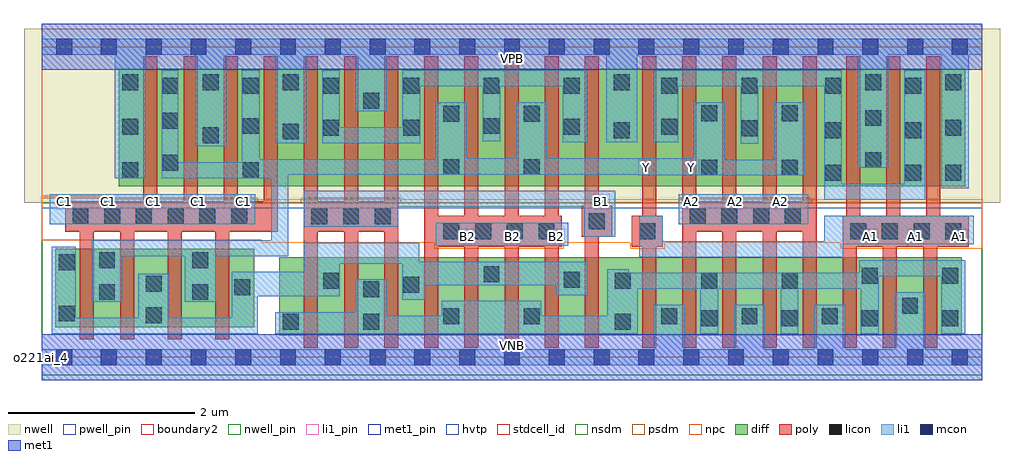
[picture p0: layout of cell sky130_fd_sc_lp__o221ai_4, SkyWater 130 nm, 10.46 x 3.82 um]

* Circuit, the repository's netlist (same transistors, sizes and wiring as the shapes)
* Copyright 2020 The SkyWater PDK Authors
*
* Licensed under the Apache License, Version 2.0 (the "License");
* you may not use this file except in compliance with the License.
* You may obtain a copy of the License at
*
*     https://www.apache.org/licenses/LICENSE-2.0
*
* Unless required by applicable law or agreed to in writing, software
* distributed under the License is distributed on an "AS IS" BASIS,
* WITHOUT WARRANTIES OR CONDITIONS OF ANY KIND, either express or implied.
* See the License for the specific language governing permissions and
* limitations under the License.
*
* SPDX-License-Identifier: Apache-2.0

.SUBCKT sky130_fd_sc_lp__o221ai_4 A1 A2 B1 B2 C1 VGND VNB VPB VPWR Y
*.PININFO A1:I A2:I B1:I B2:I C1:I VGND:I VNB:I VPB:I VPWR:I Y:O
MMPA0 VPWR A1 sndA1 VPB sky130_fd_pr__pfet_01v8_hvt m=4 w=1.26U l=0.15U mult=1
+ sa=0.265 sb=0.265 sd=0.28 area=0.063 perim=1.14
MMPA1 sndA1 A2 Y VPB sky130_fd_pr__pfet_01v8_hvt m=4 w=1.26U l=0.15U mult=1 sa=0.265
+ sb=0.265 sd=0.28 area=0.063 perim=1.14
MMPB0 VPWR B1 sndB1 VPB sky130_fd_pr__pfet_01v8_hvt m=4 w=1.26U l=0.15U mult=1
+ sa=0.265 sb=0.265 sd=0.28 area=0.063 perim=1.14
MMPB1 sndB1 B2 Y VPB sky130_fd_pr__pfet_01v8_hvt m=4 w=1.26U l=0.15U mult=1 sa=0.265
+ sb=0.265 sd=0.28 area=0.063 perim=1.14
MMPC0 VPWR C1 Y VPB sky130_fd_pr__pfet_01v8_hvt m=4 w=1.26U l=0.15U mult=1 sa=0.265
+ sb=0.265 sd=0.28 area=0.063 perim=1.14
MMNA0 pndA A1 VGND VNB sky130_fd_pr__nfet_01v8 m=4 w=0.84U l=0.15U mult=1 sa=0.265
+ sb=0.265 sd=0.28 area=0.063 perim=1.14
MMNA1 pndA A2 VGND VNB sky130_fd_pr__nfet_01v8 m=4 w=0.84U l=0.15U mult=1 sa=0.265
+ sb=0.265 sd=0.28 area=0.063 perim=1.14
MMNB0 pndB B1 pndA VNB sky130_fd_pr__nfet_01v8 m=4 w=0.84U l=0.15U mult=1 sa=0.265
+ sb=0.265 sd=0.28 area=0.063 perim=1.14
MMNB1 pndB B2 pndA VNB sky130_fd_pr__nfet_01v8 m=4 w=0.84U l=0.15U mult=1 sa=0.265
+ sb=0.265 sd=0.28 area=0.063 perim=1.14
MMNC0 Y C1 pndB VNB sky130_fd_pr__nfet_01v8 m=4 w=0.84U l=0.15U mult=1 sa=0.265
+ sb=0.265 sd=0.28 area=0.063 perim=1.14
.ENDS sky130_fd_sc_lp__o221ai_4

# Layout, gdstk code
import gdstk
lib = gdstk.Library(unit=1e-6, precision=1e-09)
def R(c, l, rs):  # rectangles x0, y0, x1, y1
    for r in rs: c.add(gdstk.rectangle(r[:2], r[2:], *l))
def A(c, l, x, y, w, h, nx, ny, dx, dy):  # array of equal rectangles
    R(c, l, [(x+i*dx, y+j*dy, x+i*dx+w, y+j*dy+h) for i in range(nx) for j in range(ny)])
def P(c, l, *ps):  # polygons
    for p in ps: c.add(gdstk.Polygon(p, *l))
nwell_pin = (64, 16)
nwell = (64, 20)
diff = (65, 20)
poly = (66, 20)
licon = (66, 44)
li1_pin = (67, 16)
li1 = (67, 20)
mcon = (67, 44)
met1_pin = (68, 16)
met1 = (68, 20)
hvtp = (78, 44)
stdcell_id = (81, 4)
nsdm = (93, 44)
psdm = (94, 20)
npc = (95, 20)
pwell_pin = (122, 16)
boundary2 = (236, 0)

sky130_fd_sc_lp__o221ai_ = lib.new_cell('sky130_fd_sc_lp__o221ai_4')
R(sky130_fd_sc_lp__o221ai_, nwell_pin, [(0,3.085,10.08,3.33)])
R(sky130_fd_sc_lp__o221ai_, nwell, [(-0.19,1.655,10.27,3.52)])
R(sky130_fd_sc_lp__o221ai_, diff, [(2.545,0.235,9.86,1.075), (0.145,0.325,2.275,1.165), (0.825,1.835,9.895,3.095)])
P(sky130_fd_sc_lp__o221ai_, poly, [(2.53,3.225),(2.38,3.225),(2.38,1.675),(2.1,1.675),(2.1,3.225),(1.95,3.225),(1.95,1.675),(1.67,1.675),(1.67,3.225),(1.52,3.225),(1.52,1.675),(1.24,1.675),(1.24,3.225),(1.09,3.225),(1.09,1.675),(0.25,1.675),(0.25,1.345),(0.41,1.345),(0.41,0.195),(0.56,0.195),(0.56,1.345),(0.84,1.345),(0.84,0.195),(0.99,0.195),(0.99,1.345),(1.35,1.345),(1.35,0.195),(1.5,0.195),(1.5,1.345),(1.86,1.345),(1.86,0.195),(2.01,0.195),(2.01,1.345),(2.53,1.345)],
  [(3.82,3.225),(3.67,3.225),(3.67,1.675),(3.39,1.675),(3.39,3.225),(3.24,3.225),(3.24,1.675),(2.96,1.675),(2.96,3.225),(2.81,3.225),(2.81,0.105),(2.96,0.105),(2.96,1.345),(3.24,1.345),(3.24,0.105),(3.39,0.105),(3.39,1.345),(3.67,1.345),(3.67,0.105),(3.82,0.105)],
  [(5.575,1.515),(5.54,1.515),(5.54,3.225),(5.39,3.225),(5.39,1.515),(5.11,1.515),(5.11,3.225),(4.96,3.225),(4.96,1.515),(4.68,1.515),(4.68,3.225),(4.53,3.225),(4.53,1.515),(4.25,1.515),(4.25,3.225),(4.1,3.225),(4.1,0.105),(4.25,0.105),(4.25,1.185),(4.53,1.185),(4.53,0.105),(4.68,0.105),(4.68,1.185),(4.96,1.185),(4.96,0.105),(5.11,0.105),(5.11,1.185),(5.39,1.185),(5.39,0.105),(5.54,0.105),(5.54,1.185),(5.575,1.185)],
  [(6.115,1.625),(5.97,1.625),(5.97,3.225),(5.82,3.225),(5.82,1.625),(5.785,1.625),(5.785,1.295),(5.82,1.295),(5.82,0.105),(5.97,0.105),(5.97,1.295),(6.115,1.295)],
  [(6.655,1.515),(6.585,1.515),(6.585,3.225),(6.435,3.225),(6.435,1.515),(6.325,1.515),(6.325,1.185),(6.435,1.185),(6.435,0.105),(6.585,0.105),(6.585,1.185),(6.655,1.185)],
  [(8.305,3.225),(8.155,3.225),(8.155,1.675),(7.875,1.675),(7.875,3.225),(7.725,3.225),(7.725,1.675),(7.445,1.675),(7.445,3.225),(7.295,3.225),(7.295,1.675),(7.015,1.675),(7.015,3.225),(6.865,3.225),(6.865,0.105),(7.015,0.105),(7.015,1.345),(7.295,1.345),(7.295,0.105),(7.445,0.105),(7.445,1.345),(7.725,1.345),(7.725,0.105),(7.875,0.105),(7.875,1.345),(8.155,1.345),(8.155,0.105),(8.305,0.105)],
  [(9.935,1.515),(9.63,1.515),(9.63,3.225),(9.48,3.225),(9.48,1.515),(9.2,1.515),(9.2,3.225),(9.05,3.225),(9.05,1.515),(8.77,1.515),(8.77,3.225),(8.62,3.225),(8.62,1.515),(8.585,1.515),(8.585,0.105),(8.735,0.105),(8.735,1.185),(9.015,1.185),(9.015,0.105),(9.165,0.105),(9.165,1.185),(9.445,1.185),(9.445,0.105),(9.595,0.105),(9.595,1.185),(9.935,1.185)])
A(sky130_fd_sc_lp__o221ai_, licon, 7.07, 0.335, 0.17, 0.17, 4, 1, 0.86, 0)
A(sky130_fd_sc_lp__o221ai_, licon, 6.64, 0.355, 0.17, 0.17, 3, 1, 0.86, 0)
A(sky130_fd_sc_lp__o221ai_, licon, 4.305, 1.265, 0.17, 0.17, 4, 1, 0.34, 0)
A(sky130_fd_sc_lp__o221ai_, licon, 8.665, 1.265, 0.17, 0.17, 4, 1, 0.34, 0)
A(sky130_fd_sc_lp__o221ai_, licon, 0.33, 1.425, 0.17, 0.17, 6, 1, 0.34, 0)
A(sky130_fd_sc_lp__o221ai_, licon, 2.89, 1.425, 0.17, 0.17, 3, 1, 0.34, 0)
A(sky130_fd_sc_lp__o221ai_, licon, 6.945, 1.425, 0.17, 0.17, 4, 1, 0.34, 0)
A(sky130_fd_sc_lp__o221ai_, licon, 1.295, 2.825, 0.17, 0.17, 6, 1, 0.86, 0)
A(sky130_fd_sc_lp__o221ai_, licon, 0.865, 2.865, 0.17, 0.17, 3, 1, 0.86, 0)
R(sky130_fd_sc_lp__o221ai_, licon, [(2.585,0.295,2.755,0.465), (3.445,0.295,3.615,0.465), (6.14,0.295,6.31,0.465), (4.305,0.355,4.475,0.525), (5.165,0.355,5.335,0.525), (1.115,0.365,1.285,0.535), (0.185,0.385,0.355,0.555), (9.22,0.47,9.39,0.64), (0.615,0.615,0.785,0.785), (1.615,0.615,1.785,0.785), (3.445,0.645,3.615,0.815), (2.065,0.665,2.235,0.835), (3.875,0.695,4.045,0.865), (1.115,0.705,1.285,0.875), (3.015,0.735,3.185,0.905), (6.14,0.735,6.31,0.905), (7.07,0.735,7.24,0.905), (7.93,0.735,8.1,0.905), (5.595,0.745,5.765,0.915), (8.79,0.79,8.96,0.96), (9.65,0.79,9.82,0.96), (4.735,0.805,4.905,0.975), (0.185,0.935,0.355,1.105), (0.615,0.955,0.785,1.125), (1.615,0.955,1.785,1.125), (6.405,1.265,6.575,1.435), (5.865,1.375,6.035,1.545), (8.395,1.895,8.565,2.065), (9.255,1.895,9.425,2.065), (9.685,1.895,9.855,2.065), (0.865,1.92,1.035,2.09), (2.155,1.92,2.325,2.09), (7.07,1.95,7.24,2.12), (7.93,1.95,8.1,2.12), (4.305,1.955,4.475,2.125), (5.165,1.955,5.335,2.125), (1.295,2,1.465,2.17), (8.825,2.03,8.995,2.2), (1.725,2.295,1.895,2.465), (2.585,2.335,2.755,2.505), (6.13,2.35,6.3,2.52), (8.395,2.35,8.565,2.52), (9.255,2.35,9.425,2.52), (7.5,2.37,7.67,2.54), (3.015,2.375,3.185,2.545), (3.875,2.375,4.045,2.545), (9.685,2.375,9.855,2.545), (0.865,2.385,1.035,2.555), (5.595,2.385,5.765,2.555), (6.64,2.385,6.81,2.555), (2.155,2.395,2.325,2.565), (4.735,2.395,4.905,2.565), (1.295,2.45,1.465,2.62), (8.825,2.48,8.995,2.65), (4.305,2.525,4.475,2.695), (5.165,2.525,5.335,2.695), (7.07,2.53,7.24,2.7), (7.93,2.53,8.1,2.7), (3.445,2.665,3.615,2.835), (6.64,2.825,6.81,2.995), (7.5,2.825,7.67,2.995), (8.395,2.825,8.565,2.995), (9.255,2.825,9.425,2.995), (6.13,2.865,6.3,3.035), (8.825,2.865,8.995,3.035), (9.685,2.865,9.855,3.035)])
A(sky130_fd_sc_lp__o221ai_, li1_pin, 4.475, 1.21, 0.17, 0.17, 3, 1, 0.48, 0)
A(sky130_fd_sc_lp__o221ai_, li1_pin, 8.795, 1.21, 0.17, 0.17, 3, 1, 0.48, 0)
A(sky130_fd_sc_lp__o221ai_, li1_pin, 0.155, 1.58, 0.17, 0.17, 5, 1, 0.48, 0)
A(sky130_fd_sc_lp__o221ai_, li1_pin, 6.875, 1.58, 0.17, 0.17, 3, 1, 0.48, 0)
R(sky130_fd_sc_lp__o221ai_, li1_pin, [(5.915,1.58,6.085,1.75), (6.395,1.95,6.565,2.12), (6.875,1.95,7.045,2.12)])
R(sky130_fd_sc_lp__o221ai_, li1, [(4.225,1.195,5.645,1.445), (0.085,1.425,2.29,1.75), (6.825,1.425,8.215,1.75)])
P(sky130_fd_sc_lp__o221ai_, li1, [(5.845,1.025),(4.045,1.025),(4.045,1.23),(2.81,1.23),(2.81,0.915),(2.035,0.915),(2.035,0.425),(1.365,0.425),(1.365,0.895),(1.035,0.895),(1.035,0.425),(0.365,0.425),(0.365,1.185),(0.105,1.185),(0.105,0.255),(2.315,0.255),(2.315,0.655),(3.195,0.655),(3.195,1.005),(3.865,1.005),(3.865,0.615),(4.115,0.615),(4.115,0.775),(5.515,0.775),(5.515,0.665),(5.845,0.665)],
  [(9.99,1.52),(8.385,1.52),(8.385,1.245),(6.655,1.245),(6.655,1.515),(6.405,1.515),(6.405,1.075),(8.59,1.075),(8.59,1.21),(9.99,1.21)],
  [(10.08,0.085),(9.47,0.085),(9.47,0.7),(9.14,0.7),(9.14,0.085),(8.61,0.085),(8.61,0.565),(8.28,0.565),(8.28,0.085),(7.75,0.085),(7.75,0.565),(7.42,0.565),(7.42,0.085),(6.89,0.085),(6.89,0.565),(6.56,0.565),(6.56,0.085),(0,0.085),(0,-0.085),(10.08,-0.085)],
  [(6.145,1.785),(2.81,1.785),(2.81,1.4),(3.82,1.4),(3.82,1.615),(5.815,1.615),(5.815,1.295),(6.145,1.295)],
  [(9.9,1.04),(8.76,1.04),(8.76,0.905),(6.29,0.905),(6.29,0.945),(6.06,0.945),(6.06,0.445),(5.355,0.445),(5.355,0.605),(4.285,0.605),(4.285,0.445),(3.695,0.445),(3.695,0.835),(3.365,0.835),(3.365,0.485),(2.505,0.485),(2.505,0.255),(6.39,0.255),(6.39,0.735),(7.06,0.735),(7.06,0.255),(7.25,0.255),(7.25,0.735),(7.92,0.735),(7.92,0.255),(8.11,0.255),(8.11,0.735),(8.78,0.735),(8.78,0.255),(8.97,0.255),(8.97,0.87),(9.64,0.87),(9.64,0.255),(9.9,0.255)],
  [(10.08,3.415),(0,3.415),(0,3.245),(0.785,3.245),(0.785,1.92),(1.115,1.92),(1.115,3.245),(1.645,3.245),(1.645,2.26),(1.975,2.26),(1.975,3.245),(2.505,3.245),(2.505,2.295),(2.835,2.295),(2.835,3.245),(3.365,3.245),(3.365,2.635),(3.695,2.635),(3.695,3.245),(6.05,3.245),(6.05,2.305),(6.38,2.305),(6.38,3.245),(8.745,3.245),(8.745,2.03),(9.075,2.03),(9.075,3.245),(9.64,3.245),(9.64,1.815),(9.935,1.815),(9.935,3.245),(10.08,3.245)],
  [(5.845,3.075),(3.865,3.075),(3.865,2.465),(3.195,2.465),(3.195,3.075),(3.005,3.075),(3.005,2.295),(4.055,2.295),(4.055,2.905),(4.725,2.905),(4.725,2.315),(4.915,2.315),(4.915,2.905),(5.585,2.905),(5.585,2.305),(5.845,2.305)],
  [(9.47,3.075),(9.245,3.075),(9.245,1.86),(8.575,1.86),(8.575,3.075),(6.56,3.075),(6.56,2.305),(6.82,2.305),(6.82,2.905),(7.49,2.905),(7.49,2.29),(7.68,2.29),(7.68,2.905),(8.385,2.905),(8.385,1.69),(9.47,1.69)],
  [(8.18,2.735),(7.85,2.735),(7.85,2.12),(7.32,2.12),(7.32,2.735),(6.99,2.735),(6.99,2.135),(5.415,2.135),(5.415,2.735),(5.085,2.735),(5.085,2.135),(4.555,2.135),(4.555,2.735),(4.225,2.735),(4.225,2.125),(2.335,2.125),(2.335,3.075),(2.145,3.075),(2.145,2.09),(1.465,2.09),(1.465,3.075),(1.285,3.075),(1.285,1.92),(2.46,1.92),(2.46,1.255),(0.535,1.255),(0.535,0.595),(0.865,0.595),(0.865,1.085),(1.535,1.085),(1.535,0.595),(1.865,0.595),(1.865,1.085),(2.64,1.085),(2.64,1.955),(6.395,1.955),(6.395,1.95),(8.18,1.95)])
A(sky130_fd_sc_lp__o221ai_, mcon, 0.155, -0.085, 0.17, 0.17, 21, 2, 0.48, 3.33)
R(sky130_fd_sc_lp__o221ai_, met1_pin, [(0,0,10.08,0.245), (0,3.085,10.08,3.33)])
R(sky130_fd_sc_lp__o221ai_, met1, [(0,-0.245,10.08,0.245), (0,3.085,10.08,3.575)])
R(sky130_fd_sc_lp__o221ai_, hvtp, [(0,1.6,10.08,3.33)])
R(sky130_fd_sc_lp__o221ai_, stdcell_id, [(0,0,10.08,3.33)])
R(sky130_fd_sc_lp__o221ai_, nsdm, [(0,-0.19,10.08,1.655)])
P(sky130_fd_sc_lp__o221ai_, psdm, [(10.08,3.52),(0,3.52),(0,1.705),(2.31,1.705),(2.31,1.655),(2.78,1.655),(2.78,1.705),(3.85,1.705),(3.85,1.655),(6.835,1.655),(6.835,1.705),(8.245,1.705),(8.245,1.655),(10.08,1.655)])
P(sky130_fd_sc_lp__o221ai_, npc, [(10.08,1.695),(0.685,1.695),(0.685,1.73),(0,1.73),(0,1.255),(2.365,1.255),(2.365,1.23),(4.205,1.23),(4.205,1.165),(5.595,1.165),(5.595,1.23),(6.305,1.23),(6.305,1.165),(6.675,1.165),(6.675,1.23),(8.565,1.23),(8.565,1.165),(10.08,1.165)])
R(sky130_fd_sc_lp__o221ai_, pwell_pin, [(0,0,10.08,0.245)])
R(sky130_fd_sc_lp__o221ai_, boundary2, [(0,0,10.08,3.33)])
sky130_fd_sc_lp__o221ai_.add(gdstk.Label('VNB', (5.04,0.123), layer=64, texttype=59))
sky130_fd_sc_lp__o221ai_.add(gdstk.Label('VPB', (5.04,3.208), layer=64, texttype=5))
sky130_fd_sc_lp__o221ai_.add(gdstk.Label('o221ai_4', (0,0), layer=83, texttype=44))
sky130_fd_sc_lp__o221ai_.add(gdstk.Label('VPWR', (5.04,3.208), layer=68, texttype=5))
sky130_fd_sc_lp__o221ai_.add(gdstk.Label('VGND', (5.04,0.123), layer=68, texttype=5))
sky130_fd_sc_lp__o221ai_.add(gdstk.Label('A1', (8.88,1.295), layer=67, texttype=5))
sky130_fd_sc_lp__o221ai_.add(gdstk.Label('A1', (9.36,1.295), layer=67, texttype=5))
sky130_fd_sc_lp__o221ai_.add(gdstk.Label('A1', (9.84,1.295), layer=67, texttype=5))
sky130_fd_sc_lp__o221ai_.add(gdstk.Label('Y', (6.48,2.035), layer=67, texttype=5))
sky130_fd_sc_lp__o221ai_.add(gdstk.Label('Y', (6.96,2.035), layer=67, texttype=5))
sky130_fd_sc_lp__o221ai_.add(gdstk.Label('B2', (4.56,1.295), layer=67, texttype=5))
sky130_fd_sc_lp__o221ai_.add(gdstk.Label('B2', (5.04,1.295), layer=67, texttype=5))
sky130_fd_sc_lp__o221ai_.add(gdstk.Label('B2', (5.52,1.295), layer=67, texttype=5))
sky130_fd_sc_lp__o221ai_.add(gdstk.Label('C1', (0.24,1.665), layer=67, texttype=5))
sky130_fd_sc_lp__o221ai_.add(gdstk.Label('C1', (0.72,1.665), layer=67, texttype=5))
sky130_fd_sc_lp__o221ai_.add(gdstk.Label('C1', (1.2,1.665), layer=67, texttype=5))
sky130_fd_sc_lp__o221ai_.add(gdstk.Label('C1', (1.68,1.665), layer=67, texttype=5))
sky130_fd_sc_lp__o221ai_.add(gdstk.Label('C1', (2.16,1.665), layer=67, texttype=5))
sky130_fd_sc_lp__o221ai_.add(gdstk.Label('A2', (6.96,1.665), layer=67, texttype=5))
sky130_fd_sc_lp__o221ai_.add(gdstk.Label('A2', (7.44,1.665), layer=67, texttype=5))
sky130_fd_sc_lp__o221ai_.add(gdstk.Label('A2', (7.92,1.665), layer=67, texttype=5))
sky130_fd_sc_lp__o221ai_.add(gdstk.Label('B1', (6,1.665), layer=67, texttype=5))

lib.write_gds('sky130_fd_sc_lp__o221ai_4.gds')
